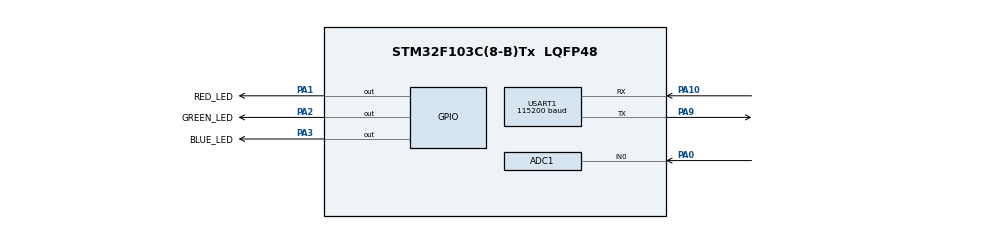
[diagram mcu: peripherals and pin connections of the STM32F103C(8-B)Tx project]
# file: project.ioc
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ADC1.Channel-0\#ChannelRegularConversion=ADC_CHANNEL_0
ADC1.ContinuousConvMode=ENABLE
ADC1.NbrOfConversionFlag=1
ADC1.Rank-0\#ChannelRegularConversion=1
ADC1.SamplingTime-0\#ChannelRegularConversion=ADC_SAMPLETIME_1CYCLE_5
ADC1.master=1
Mcu.Family=STM32F1
Mcu.Name=STM32F103C(8-B)Tx
Mcu.Package=LQFP48
NVIC.PriorityGroup=NVIC_PRIORITYGROUP_4
NVIC.USART1_IRQn=true\:0\:0\:false\:false\:true\:false\:true\:true
PA0-WKUP.Signal=ADCx_IN0
PA1.GPIO_Label=RED_LED
PA1.GPIO_PuPd=GPIO_PULLDOWN
PA1.PinState=GPIO_PIN_RESET
PA1.Signal=GPIO_Output
PA10.Mode=Asynchronous
PA10.Signal=USART1_RX
PA13.Mode=Serial_Wire
PA13.Signal=SYS_JTMS-SWDIO
PA14.Mode=Serial_Wire
PA14.Signal=SYS_JTCK-SWCLK
PA2.GPIO_Label=GREEN_LED
PA2.GPIO_PuPd=GPIO_PULLDOWN
PA2.PinState=GPIO_PIN_RESET
PA2.Signal=GPIO_Output
PA3.GPIO_Label=BLUE_LED
PA3.GPIO_PuPd=GPIO_PULLDOWN
PA3.PinState=GPIO_PIN_RESET
PA3.Signal=GPIO_Output
PA9.Mode=Asynchronous
PA9.Signal=USART1_TX
ProjectManager.HeapSize=0x200
ProjectManager.StackSize=0x400
ProjectManager.TargetToolchain=MDK-ARM V5.32
RCC.APB1Freq_Value=8000000
RCC.APB2Freq_Value=8000000
SH.ADCx_IN0.0=ADC1_IN0,IN0
SYS.SWD=true
USART1.BaudRate=115200
USART1.VirtualMode=VM_ASYNC
board=custom

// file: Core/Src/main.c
/* USER CODE BEGIN Header */
/**
  ******************************************************************************
  * @file           : main.c
  * @brief          : STM32F103C8T6 + LiteOS LED和温度演示程序
  * @description    : 基于华为LiteOS实现UART命令解析、LED模式控制和NTC温度监测
  *
  * @hardware       : MCU  : STM32F103C8T6 (Cortex-M3, 8 MHz HSI)
  *                   LED  : PA1红灯, PA2绿灯, PA3蓝灯, 低电平点亮
  *                   UART : USART1在PA9/PA10，波特率115200
  *                   ADC  : ADC1_CH0在PA0，用于NTC传感器
  *
  ******************************************************************************
  */
/* USER CODE END Header */
#include "main.h"
#include "adc.h"
#include "usart.h"

#include <stdio.h>
#include <string.h>

#include "los_config.h"
#include "los_sys.h"
#include "los_task.h"

/* USER CODE BEGIN PD */
/* LiteOS任务优先级：数值越小优先级越高 */
#define TASK_PRIO_UART_CMD      4
#define TASK_PRIO_LED_BLINK     5
#define TASK_PRIO_TEMP          6

/* LiteOS任务栈大小（字节） */
#define TASK_STACK_SIZE_LED     512
#define TASK_STACK_SIZE_UART    512
#define TASK_STACK_SIZE_TEMP    2048
/* USER CODE END PD */

/* USER CODE BEGIN PV */
/* UART接收缓冲区状态 */
#define RX_BUFFER_SIZE 64
uint8_t rx_buffer[RX_BUFFER_SIZE];
uint8_t rx_index = 0;
uint8_t rx_data;

/* LiteOS任务ID */
UINT32 g_taskLedBlinkID;
UINT32 g_taskUartCmdID;
UINT32 g_taskTempID;

/* LED工作模式 */
typedef enum {
  LED_MODE_INIT,
  LED_MODE_RED_ON,
  LED_MODE_BLUE_FLASH,
  LED_MODE_CRAZY_FLASH,
  LED_MODE_ALL_OFF
} LED_Mode_t;

/* 任务间共享状态 */
volatile LED_Mode_t g_ledMode = LED_MODE_INIT;
volatile uint8_t g_ledFlashingCount = 0;
volatile uint8_t g_tempMonitorOn = 0;
/* USER CODE END PV */

void SystemClock_Config(void);
static void MX_GPIO_Init(void);
/* USER CODE BEGIN PFP */
/* 命令处理辅助函数 */
void Process_Command(uint8_t *cmd);

/* 滤波ADC采样辅助函数 */
uint32_t ADC_Read_Average(uint8_t samples);

/* LiteOS任务入口点 */
VOID *Task_LED_Blink(VOID *arg);
VOID *Task_UART_Cmd(VOID *arg);
VOID *Task_Temp_Monitor(VOID *arg);
/* USER CODE END PFP */

/* USER CODE BEGIN 0 */

/**
  * @brief  多次读取ADC并返回平均值
  * @note   用于降低NTC温度输入的噪声
  * @param  samples: 要平均的采样次数
  * @retval 平均后的12位ADC值
  */
uint32_t ADC_Read_Average(uint8_t samples)
{
  uint32_t sum = 0;

  for(uint8_t i = 0; i < samples; i++)
  {
    HAL_ADC_Start(&hadc1);
    if (HAL_ADC_PollForConversion(&hadc1, 100) == HAL_OK)
    {
      sum += HAL_ADC_GetValue(&hadc1);
    }
    HAL_ADC_Stop(&hadc1);
    LOS_TaskDelay(10);
  }

  return sum / samples;
}

/* USER CODE END 0 */

/**
  * @brief  应用程序入口点
  * @retval int
  */
int main(void)
{

  /* MCU配置--------------------------------------------------------*/

  /* 复位所有外设，初始化Flash接口和Systick */
  HAL_Init();

  /* 配置系统时钟 */
  SystemClock_Config();

  /* 初始化所有配置的外设 */
  MX_GPIO_Init();
  MX_USART1_UART_Init();
  MX_ADC1_Init();
  /* USER CODE BEGIN 2 */
  char *welcome_msg = "The equipment is ready, please send control commands.\r\n";
  HAL_UART_Transmit(&huart1, (uint8_t*)welcome_msg, strlen(welcome_msg), 1000);
  HAL_UART_Receive_IT(&huart1, &rx_data, 1);
  UINT32 ret = OsMain();
  if (ret != LOS_OK) {
    char *error_msg = "LiteOS init failed!\r\n";
    HAL_UART_Transmit(&huart1, (uint8_t*)error_msg, strlen(error_msg), 1000);
    while(1);
  }
  TSK_INIT_PARAM_S taskInitParam;
  memset(&taskInitParam, 0, sizeof(TSK_INIT_PARAM_S));
  taskInitParam.pfnTaskEntry = Task_LED_Blink;
  taskInitParam.uwStackSize = TASK_STACK_SIZE_LED;
  taskInitParam.pcName = "LED_Blink";
  taskInitParam.usTaskPrio = TASK_PRIO_LED_BLINK;
  ret = LOS_TaskCreate(&g_taskLedBlinkID, &taskInitParam);
  if (ret != LOS_OK) {
    char *error_msg = "LED task create failed!\r\n";
    HAL_UART_Transmit(&huart1, (uint8_t*)error_msg, strlen(error_msg), 1000);
  }
  memset(&taskInitParam, 0, sizeof(TSK_INIT_PARAM_S));
  taskInitParam.pfnTaskEntry = Task_UART_Cmd;
  taskInitParam.uwStackSize = TASK_STACK_SIZE_UART;
  taskInitParam.pcName = "UART_Cmd";
  taskInitParam.usTaskPrio = TASK_PRIO_UART_CMD;
  ret = LOS_TaskCreate(&g_taskUartCmdID, &taskInitParam);
  if (ret != LOS_OK) {
    char *error_msg = "UART task create failed!\r\n";
    HAL_UART_Transmit(&huart1, (uint8_t*)error_msg, strlen(error_msg), 1000);
  }
  memset(&taskInitParam, 0, sizeof(TSK_INIT_PARAM_S));
  taskInitParam.pfnTaskEntry = Task_Temp_Monitor;
  taskInitParam.uwStackSize = TASK_STACK_SIZE_TEMP;
  taskInitParam.pcName = "Temp_Monitor";
  taskInitParam.usTaskPrio = TASK_PRIO_TEMP;
  ret = LOS_TaskCreate(&g_taskTempID, &taskInitParam);
  if (ret != LOS_OK) {
    char *error_msg = "Temp task create failed!\r\n";
    HAL_UART_Transmit(&huart1, (uint8_t*)error_msg, strlen(error_msg), 1000);
  }
  OsStart();

  /* USER CODE END 2 */

  /* 无限循环 */
  while (1)
  {

  }
}

/**
  * @brief  系统时钟配置
  * @retval 无
  */
void SystemClock_Config(void)
{
  RCC_OscInitTypeDef RCC_OscInitStruct = {0};
  RCC_ClkInitTypeDef RCC_ClkInitStruct = {0};
  RCC_PeriphCLKInitTypeDef PeriphClkInit = {0};

  /** 根据RCC_OscInitTypeDef结构体中指定的参数初始化RCC振荡器
  */
  RCC_OscInitStruct.OscillatorType = RCC_OSCILLATORTYPE_HSI;
  RCC_OscInitStruct.HSIState = RCC_HSI_ON;
  RCC_OscInitStruct.HSICalibrationValue = RCC_HSICALIBRATION_DEFAULT;
  RCC_OscInitStruct.PLL.PLLState = RCC_PLL_NONE;
  if (HAL_RCC_OscConfig(&RCC_OscInitStruct) != HAL_OK)
  {
    Error_Handler();
  }

  /** 初始化CPU、AHB和APB总线时钟
  */
  RCC_ClkInitStruct.ClockType = RCC_CLOCKTYPE_HCLK|RCC_CLOCKTYPE_SYSCLK
                              |RCC_CLOCKTYPE_PCLK1|RCC_CLOCKTYPE_PCLK2;
  RCC_ClkInitStruct.SYSCLKSource = RCC_SYSCLKSOURCE_HSI;
  RCC_ClkInitStruct.AHBCLKDivider = RCC_SYSCLK_DIV1;
  RCC_ClkInitStruct.APB1CLKDivider = RCC_HCLK_DIV1;
  RCC_ClkInitStruct.APB2CLKDivider = RCC_HCLK_DIV1;

  if (HAL_RCC_ClockConfig(&RCC_ClkInitStruct, FLASH_LATENCY_0) != HAL_OK)
  {
    Error_Handler();
  }
  PeriphClkInit.PeriphClockSelection = RCC_PERIPHCLK_ADC;
  PeriphClkInit.AdcClockSelection = RCC_ADCPCLK2_DIV2;
  if (HAL_RCCEx_PeriphCLKConfig(&PeriphClkInit) != HAL_OK)
  {
    Error_Handler();
  }
}

/**
  * @brief GPIO初始化函数
  * @param 无
  * @retval 无
  */
static void MX_GPIO_Init(void)
{
  GPIO_InitTypeDef GPIO_InitStruct = {0};
/* USER CODE BEGIN MX_GPIO_Init_1 */
  GPIOA->BSRR = GPIO_BSRR_BS1 | GPIO_BSRR_BS2;
  GPIOA->ODR |= GPIO_ODR_ODR1 | GPIO_ODR_ODR2;
/* USER CODE END MX_GPIO_Init_1 */

  /* GPIO端口时钟使能 */
  __HAL_RCC_GPIOA_CLK_ENABLE();

  /*Configure GPIO pin Output Level */
  HAL_GPIO_WritePin(GPIOA, RED_LED_Pin|GREEN_LED_Pin|BLUE_LED_Pin, GPIO_PIN_SET);

  /*Configure GPIO pins : RED_LED_Pin GREEN_LED_Pin BLUE_LED_Pin */
  GPIO_InitStruct.Pin = RED_LED_Pin|GREEN_LED_Pin|BLUE_LED_Pin;
  GPIO_InitStruct.Mode = GPIO_MODE_OUTPUT_PP;
  GPIO_InitStruct.Pull = GPIO_PULLDOWN;
  GPIO_InitStruct.Speed = GPIO_SPEED_FREQ_LOW;
  HAL_GPIO_Init(GPIOA, &GPIO_InitStruct);

/* USER CODE BEGIN MX_GPIO_Init_2 */
  GPIOA->BSRR = GPIO_BSRR_BS1 | GPIO_BSRR_BS2;
/* USER CODE END MX_GPIO_Init_2 */
}

/* USER CODE BEGIN 4 */

/**
  * @brief  UART接收完成回调函数
  * @note   将字节收集到行缓冲区，当接收到行结束符时分发命令
  * @param  huart: UART句柄指针
  * @retval 无
  */
void HAL_UART_RxCpltCallback(UART_HandleTypeDef *huart)
{
  if(huart->Instance == USART1)
  {
    if(rx_data == '\r' || rx_data == '\n')
    {
      if(rx_index > 0)
      {
        rx_buffer[rx_index] = '\0';
        Process_Command(rx_buffer);
      }
      rx_index = 0;
      memset(rx_buffer, 0, RX_BUFFER_SIZE);
    }
    else if(rx_index < RX_BUFFER_SIZE - 1)
    {
      rx_buffer[rx_index++] = rx_data;
    }
    else
    {
      rx_index = 0;
      memset(rx_buffer, 0, RX_BUFFER_SIZE);
      {
        char *error_msg = "Buffer overflow! Command too long.\r\n";
        HAL_UART_Transmit(&huart1, (uint8_t *)error_msg, strlen(error_msg), 1000);
      }
    }

    HAL_UART_Receive_IT(&huart1, &rx_data, 1);
  }
}

/**
  * @brief  解析并执行UART命令
  * @param  cmd: 以null结尾的命令字符串
  * @retval 无
  *
  * 支持的命令：
  *   - "yes"
  *   - "no"
  *   - "ledflashingon"
  *   - "ledflashingoff"
  *   - "gettempron"
  *   - "gettemproff"
  *   - "ledalloff"
  */
void Process_Command(uint8_t *cmd)
{
  char *response = NULL;

  if(strcmp((char*)cmd, "yes") == 0)
  {
    g_ledMode = LED_MODE_RED_ON;
    response = "The red light has been lit.\r\n";
  }
  else if(strcmp((char*)cmd, "ledflashingon") == 0)
  {
    g_ledMode = LED_MODE_BLUE_FLASH;
    g_ledFlashingCount = 0;
    response = "Blue LED flashing started.\r\n";
  }
  else if(strcmp((char*)cmd, "ledflashingoff") == 0)
  {
    g_ledMode = LED_MODE_INIT;
    g_ledFlashingCount = 0;
    response = "Blue LED flashing stopped.\r\n";
  }
  else if(strcmp((char*)cmd, "gettempron") == 0)
  {
    g_tempMonitorOn = 1;
    response = "Temperature monitoring started.\r\n";
  }
  else if(strcmp((char*)cmd, "gettemproff") == 0)
  {
    g_tempMonitorOn = 0;
    response = "Temperature monitoring stopped.\r\n";
  }
  else if(strcmp((char*)cmd, "no") == 0)
  {
    g_ledMode = LED_MODE_CRAZY_FLASH;
    response = "Crazy flash mode activated.\r\n";
  }
  else if(strcmp((char*)cmd, "ledalloff") == 0)
  {
    g_ledMode = LED_MODE_ALL_OFF;
    g_tempMonitorOn = 0;
    response = "All LEDs turned off.\r\n";
  }
  else
  {
    static char unknown_cmd[96];
    sprintf(unknown_cmd, "Unknown command: %s\r\n", (char *)cmd);
    response = unknown_cmd;
  }

  if (response != NULL)
  {
    HAL_UART_Transmit(&huart1, (uint8_t *)response, strlen(response), 1000);
  }
}

/**
  * @brief  LED控制任务
  * @note   根据g_ledMode驱动LED模式
  * @param  arg: 未使用的任务参数
  * @retval 无。此任务永不返回
  */
VOID *Task_LED_Blink(VOID *arg)
{
  (void)arg;
  uint8_t state = 0;
  static LED_Mode_t lastMode = LED_MODE_INIT;

  while(1)
  {
    /* 模式改变时重置LED输出 */
    if (lastMode != g_ledMode) {
      HAL_GPIO_WritePin(RED_LED_GPIO_Port, RED_LED_Pin, GPIO_PIN_SET);
      if (!g_tempMonitorOn) {
        HAL_GPIO_WritePin(GREEN_LED_GPIO_Port, GREEN_LED_Pin, GPIO_PIN_SET);
      }
      HAL_GPIO_WritePin(BLUE_LED_GPIO_Port, BLUE_LED_Pin, GPIO_PIN_SET);
      state = 0;
      lastMode = g_ledMode;
    }

    switch(g_ledMode)
    {
      case LED_MODE_INIT:
        if (state == 0) {
          HAL_GPIO_WritePin(BLUE_LED_GPIO_Port, BLUE_LED_Pin, GPIO_PIN_RESET);
          if (!g_tempMonitorOn) {
            HAL_GPIO_WritePin(GREEN_LED_GPIO_Port, GREEN_LED_Pin, GPIO_PIN_SET);
          }
          state = 1;
        } else {
          HAL_GPIO_WritePin(BLUE_LED_GPIO_Port, BLUE_LED_Pin, GPIO_PIN_SET);
          if (!g_tempMonitorOn) {
            HAL_GPIO_WritePin(GREEN_LED_GPIO_Port, GREEN_LED_Pin, GPIO_PIN_RESET);
          }
          state = 0;
        }
        LOS_TaskDelay(1000);
        break;

      case LED_MODE_RED_ON:
        HAL_GPIO_WritePin(RED_LED_GPIO_Port, RED_LED_Pin, GPIO_PIN_RESET);
        if (!g_tempMonitorOn) {
          HAL_GPIO_WritePin(GREEN_LED_GPIO_Port, GREEN_LED_Pin, GPIO_PIN_SET);
        }
        HAL_GPIO_WritePin(BLUE_LED_GPIO_Port, BLUE_LED_Pin, GPIO_PIN_SET);
        LOS_TaskDelay(100);
        break;

      case LED_MODE_BLUE_FLASH:
        if (g_ledFlashingCount < 10) {
          HAL_GPIO_WritePin(BLUE_LED_GPIO_Port, BLUE_LED_Pin, GPIO_PIN_RESET);
          LOS_TaskDelay(100);
          HAL_GPIO_WritePin(BLUE_LED_GPIO_Port, BLUE_LED_Pin, GPIO_PIN_SET);
          LOS_TaskDelay(1400);
          g_ledFlashingCount++;
        } else {
          g_ledMode = LED_MODE_INIT;
        }
        break;

      case LED_MODE_CRAZY_FLASH:
        HAL_GPIO_WritePin(RED_LED_GPIO_Port, RED_LED_Pin, GPIO_PIN_RESET);
        LOS_TaskDelay(100);
        HAL_GPIO_WritePin(RED_LED_GPIO_Port, RED_LED_Pin, GPIO_PIN_SET);
        if (!g_tempMonitorOn) {
          HAL_GPIO_WritePin(GREEN_LED_GPIO_Port, GREEN_LED_Pin, GPIO_PIN_RESET);
        }
        LOS_TaskDelay(100);
        if (!g_tempMonitorOn) {
          HAL_GPIO_WritePin(GREEN_LED_GPIO_Port, GREEN_LED_Pin, GPIO_PIN_SET);
        }
        HAL_GPIO_WritePin(BLUE_LED_GPIO_Port, BLUE_LED_Pin, GPIO_PIN_RESET);
        LOS_TaskDelay(100);
        HAL_GPIO_WritePin(BLUE_LED_GPIO_Port, BLUE_LED_Pin, GPIO_PIN_SET);
        break;

      case LED_MODE_ALL_OFF:
        HAL_GPIO_WritePin(RED_LED_GPIO_Port, RED_LED_Pin, GPIO_PIN_SET);
        HAL_GPIO_WritePin(GREEN_LED_GPIO_Port, GREEN_LED_Pin, GPIO_PIN_SET);
        HAL_GPIO_WritePin(BLUE_LED_GPIO_Port, BLUE_LED_Pin, GPIO_PIN_SET);
        LOS_TaskDelay(100);
        break;

      default:
        LOS_TaskDelay(100);
        break;
    }
  }
}

/**
  * @brief  UART命令任务
  * @note   命令当前直接在UART RX回调中处理
  * @param  arg: 未使用的任务参数
  * @retval 无。此任务永不返回
  */
VOID *Task_UART_Cmd(VOID *arg)
{
  (void)arg;
  while(1)
  {
    LOS_TaskDelay(100);
  }
}

/**
  * @brief  温度监测任务
  * @note   定期采样NTC输入并报告温度
  * @param  arg: 未使用的任务参数
  * @retval 无。此任务永不返回
  */
VOID *Task_Temp_Monitor(VOID *arg)
{
  (void)arg;
  uint32_t adc_value;
  float voltage, temperature;
  char temp_msg[80];
  static uint8_t lastTempState = 0;

  while(1)
  {
    /* 监测状态改变时更新绿色LED */
    if (g_tempMonitorOn != lastTempState) {
      if (g_tempMonitorOn) {
        HAL_GPIO_WritePin(GREEN_LED_GPIO_Port, GREEN_LED_Pin, GPIO_PIN_RESET);
      } else {
        HAL_GPIO_WritePin(GREEN_LED_GPIO_Port, GREEN_LED_Pin, GPIO_PIN_SET);
      }
      lastTempState = g_tempMonitorOn;
    }

    if (g_tempMonitorOn) {
      adc_value = ADC_Read_Average(10);

      /* 将ADC值转换为电压 */
      voltage = (float)adc_value * 3.3f / 4096.0f;

      /* 基于测量校准数据的线性温度近似 */
      temperature = 25.0f - (adc_value - 2120.0f) * 0.0167f;

      /* 通过UART发送温度报告 */
      sprintf(temp_msg, "Temperature: %.2f C (ADC: %lu, V: %.2f)\r\n",
              temperature, adc_value, voltage);
      HAL_UART_Transmit(&huart1, (uint8_t*)temp_msg, strlen(temp_msg), 1000);

      LOS_TaskDelay(900);
    } else {
      LOS_TaskDelay(100);
    }
  }
}

/* USER CODE END 4 */

/**
  * @brief  发生错误时执行此函数
  * @retval 无
  */
void Error_Handler(void)
{
  /* USER CODE BEGIN Error_Handler_Debug */
  /* 用户可以添加自己的实现来报告HAL错误返回状态 */
  __disable_irq();
  while (1)
  {
  }
  /* USER CODE END Error_Handler_Debug */
}

#ifdef  USE_FULL_ASSERT
/**
  * @brief  报告发生assert_param错误的源文件名和行号
  * @param  file: 指向源文件名的指针
  * @param  line: assert_param错误行号
  * @retval 无
  */
void assert_failed(uint8_t *file, uint32_t line)
{
  /* USER CODE BEGIN 6 */
  /* 用户可以添加自己的实现来报告文件名和行号，
     例如: printf("参数值错误: 文件 %s 第 %d 行\r\n", file, line) */
  /* USER CODE END 6 */
}
#endif /* USE_FULL_ASSERT */
